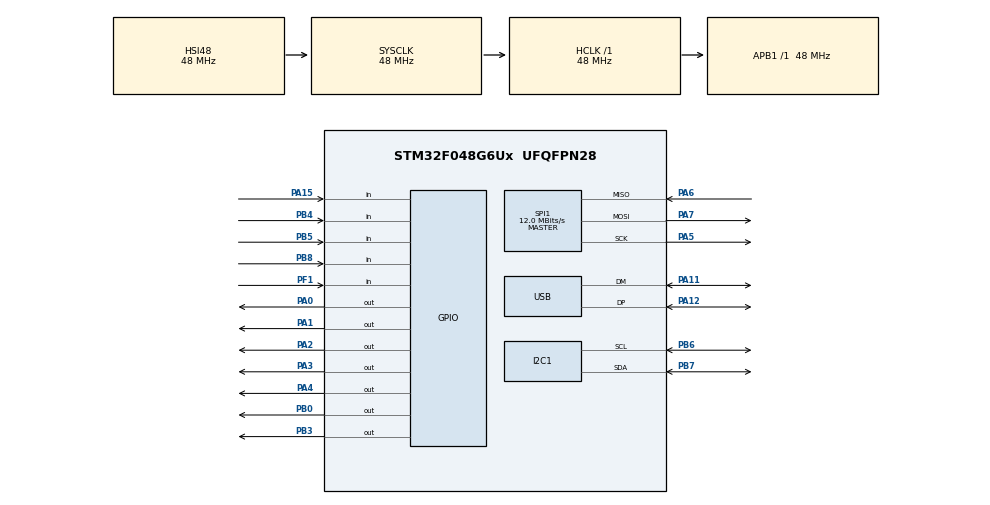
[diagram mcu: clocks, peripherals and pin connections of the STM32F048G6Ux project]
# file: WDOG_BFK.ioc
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Mcu.Family=STM32F0
Mcu.Name=STM32F048G6Ux
Mcu.Package=UFQFPN28
NVIC.SPI1_IRQn=true\:0\:0\:false\:false\:true\:true\:true
NVIC.TIM17_IRQn=true\:0\:0\:false\:false\:true\:false\:true
NVIC.TimeBase=TIM17_IRQn
NVIC.TimeBaseIP=TIM17
NVIC.USB_IRQn=true\:0\:0\:false\:false\:true\:false\:true
PA0.GPIO_ModeDefaultOutputPP=GPIO_MODE_OUTPUT_OD
PA0.Signal=GPIO_Output
PA1.GPIO_ModeDefaultOutputPP=GPIO_MODE_OUTPUT_OD
PA1.Signal=GPIO_Output
PA11.Mode=Device
PA11.Signal=USB_DM
PA12.Mode=Device
PA12.Signal=USB_DP
PA13.Mode=Serial_Wire
PA13.Signal=SYS_SWDIO
PA14.Mode=Serial_Wire
PA14.Signal=SYS_SWCLK
PA15.GPIO_PuPd=GPIO_PULLDOWN
PA15.Signal=GPIO_Input
PA2.GPIO_ModeDefaultOutputPP=GPIO_MODE_OUTPUT_OD
PA2.PinState=GPIO_PIN_SET
PA2.Signal=GPIO_Output
PA3.Signal=GPIO_Output
PA4.Signal=GPIO_Output
PA5.Mode=Full_Duplex_Master
PA5.Signal=SPI1_SCK
PA6.Mode=Full_Duplex_Master
PA6.Signal=SPI1_MISO
PA7.Mode=Full_Duplex_Master
PA7.Signal=SPI1_MOSI
PB0.Signal=GPIO_Output
PB3.Signal=GPIO_Output
PB4.GPIO_PuPd=GPIO_PULLUP
PB4.Signal=GPIO_Input
PB5.GPIO_PuPd=GPIO_PULLUP
PB5.Signal=GPIO_Input
PB6.Mode=I2C
PB6.Signal=I2C1_SCL
PB7.Mode=I2C
PB7.Signal=I2C1_SDA
PB8.Signal=GPIO_Input
PF1-OSC_OUT.GPIO_PuPd=GPIO_PULLUP
PF1-OSC_OUT.Signal=GPIO_Input
ProjectManager.HeapSize=0x200
ProjectManager.StackSize=0x325
ProjectManager.TargetToolchain=STM32CubeIDE
RCC.AHBFreq_Value=48000000
RCC.APB1Freq_Value=48000000
RCC.APB1TimFreq_Value=48000000
RCC.HCLKFreq_Value=48000000
RCC.HSI14CalibrationValue=31
RCC.HSICalibrationValue=31
RCC.PLLSourceVirtual=RCC_PLLSOURCE_HSI48
RCC.SYSCLKFreq_VALUE=48000000
RCC.SYSCLKSource=RCC_SYSCLKSOURCE_HSI48
SPI1.BaudRatePrescaler=SPI_BAUDRATEPRESCALER_4
SPI1.CLKPhase=SPI_PHASE_1EDGE
SPI1.CLKPolarity=SPI_POLARITY_LOW
SPI1.CalculateBaudRate=12.0 MBits/s
SPI1.DataSize=SPI_DATASIZE_8BIT
SPI1.Direction=SPI_DIRECTION_2LINES
SPI1.FirstBit=SPI_FIRSTBIT_MSB
SPI1.Mode=SPI_MODE_MASTER
SPI1.NSSPMode=SPI_NSS_PULSE_DISABLE
SPI1.VirtualType=VM_MASTER
USB.low_power_enable=DISABLE
USB_DEVICE.APP_RX_DATA_SIZE=128
USB_DEVICE.APP_TX_DATA_SIZE=128
USB_DEVICE.CLASS_NAME_FS=CDC
USB_DEVICE.USBD_DEBUG_LEVEL=0
USB_DEVICE.VirtualMode=Cdc
USB_DEVICE.VirtualModeFS=Cdc_FS
VP_ADC_TempSens_Input.Mode=IN-TempSens
VP_IWDG_VS_IWDG.Mode=IWDG_Activate
VP_SYS_VS_PINREMAP.Mode=PINREMAP
VP_SYS_VS_tim17.Mode=TIM17
VP_USB_DEVICE_VS_USB_DEVICE_CDC_FS.Mode=CDC_FS
board=custom

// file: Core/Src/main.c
/* USER CODE BEGIN Header */
/**
  ******************************************************************************
  * @file           : main.c
  * @brief          : Main program body
  ******************************************************************************
  * @attention
  *
  * <h2><center>&copy; Copyright (c) 2021 STMicroelectronics.
  * All rights reserved.</center></h2>
  *
  * This software component is licensed by ST under BSD 3-Clause license,
  * the "License"; You may not use this file except in compliance with the
  * License. You may obtain a copy of the License at:
  *                        opensource.org/licenses/BSD-3-Clause
  *
  ******************************************************************************
  */
/* USER CODE END Header */

/* USER CODE BEGIN Includes */
#include "main.h"
#include "usb_device.h"
#include "i2c.h"
#include "i2cSlave.h"
#include "usbd_cdc_if.h"
#include "stm32f0xx_hal_i2c.h"
#include "memory.h"
#include "POST.h"
#include "power.h"
#include "POST.h"

/* USER CODE END Includes */

/* USER CODE BEGIN PTD */
#ifndef TRUE
	#define TRUE 1
#endif
#ifndef FALSE
	#define FALSE 0
#endif
/* USER CODE END PTD */
// TEST

ADC_HandleTypeDef hadc;

I2C_HandleTypeDef hi2c1;

SPI_HandleTypeDef hspi1;

/* USER CODE BEGIN PV */

extern USBD_HandleTypeDef hUsbDeviceFS;
extern const char* SWT[];
struct SSysCntrl SysCntrl;
struct SConsole console;
struct Si2c hi2c;
I2C_handler si2c1;
/* USER CODE END PV */

void SystemClock_Config(void);
static void MX_GPIO_Init(void);
static void MX_I2C1_Init(void);
static void MX_SPI1_Init(void);
static void MX_ADC_Init(void);
/* USER CODE BEGIN PFP */

void EnableSPI() {
	GPIO_InitTypeDef GPIO_InitStruct = {0};
	ClrI2C_Mask(FLASH_EN_0|FLASH_EN_1);
	MX_SPI1_Init();
  	GPIO_InitStruct.Pin = GPIO_PIN_0|GPIO_PIN_3;
  	GPIO_InitStruct.Mode = GPIO_MODE_OUTPUT_PP;
  	GPIO_InitStruct.Pull = GPIO_NOPULL;
  	GPIO_InitStruct.Speed = GPIO_SPEED_FREQ_LOW;
	HAL_GPIO_Init(GPIOB, &GPIO_InitStruct);
	Set_CS(0);
	Set_CS(1);

}

void DisableSPI() {

	GPIO_InitTypeDef GPIO_InitStruct = {0};

	HAL_SPI_DeInit(&hspi1);
	GPIO_InitStruct.Pin = GPIO_PIN_0|GPIO_PIN_3;
  	GPIO_InitStruct.Mode = GPIO_MODE_INPUT;
  	GPIO_InitStruct.Pull = GPIO_NOPULL;
  	HAL_GPIO_Init(GPIOB, &GPIO_InitStruct);

}

void DFUMode(){
	IWDG_HandleTypeDef hiwdg;
	hiwdg.Instance = IWDG;
	hiwdg.Init.Prescaler = IWDG_PRESCALER_4;
	hiwdg.Init.Window = 20;
	hiwdg.Init.Reload = 20;
	GPIO_InitTypeDef GPIO_InitStruct = {0};
	GPIO_InitStruct.Pin = GPIO_PIN_8;
	GPIO_InitStruct.Mode = GPIO_MODE_OUTPUT_PP;
	GPIO_InitStruct.Pull = GPIO_NOPULL;
	HAL_GPIO_Init(GPIOB, &GPIO_InitStruct);
	HAL_GPIO_WritePin(GPIOB,GPIO_PIN_8,GPIO_PIN_SET);
	__HAL_IWDG_START(&hiwdg);
}
/* USER CODE END PFP */

/* USER CODE BEGIN 0 */

void SetI2C_Mask(uint8_t mask) {
	SysCntrl.i2c_bt[1] |= mask;
	SFT_I2C_Master_Transmit(&si2c1,GPIO_EXPANDER_ADDR, SysCntrl.i2c_bt,2,1);
}
void ClrI2C_Mask(uint8_t mask) {
	SysCntrl.i2c_bt[1] &= ~mask;
	SFT_I2C_Master_Transmit(&si2c1,GPIO_EXPANDER_ADDR, SysCntrl.i2c_bt,2,1);
}

void Set_CS(uint8_t cs) {
	if(cs == 0)
		HAL_GPIO_WritePin(GPIOB,GPIO_PIN_0,GPIO_PIN_SET);
	if(cs == 1)
		HAL_GPIO_WritePin(GPIOB,GPIO_PIN_3,GPIO_PIN_SET);

}
void Clr_CS(uint8_t cs) {
	if(cs == 0)
		HAL_GPIO_WritePin(GPIOB,GPIO_PIN_0,GPIO_PIN_RESET);
	if(cs == 1)
		HAL_GPIO_WritePin(GPIOB,GPIO_PIN_3,GPIO_PIN_RESET);

}

void Test_RxPacket(uint8_t *Buf,uint32_t Len) {
	uint32_t idx;
	idx = 0;
	while(Len!=0) {
		SysCntrl.uart_rx_buf[SysCntrl.rx_head++] = Buf[idx++];
		SysCntrl.rx_head &= RX_BUF_SIZE-1;
		Len--;
	}
}

void UART_putstrln(uint8_t LF,char *str){
	if(hUsbDeviceFS.dev_state == USBD_STATE_CONFIGURED){
		HAL_Delay(1);
		CDC_Transmit_FS((uint8_t*)str,strlen(str));
		while(LF>0){
			HAL_Delay(1);
			CDC_Transmit_FS((uint8_t*)"\r\n",3);
			LF--;
		}
	}
}

void UART_SendByte(uint8_t bt) {
	while(CDC_Transmit_FS(&bt,1) != USBD_OK);
}

int ReadUartNonBlock(uint8_t *buf,int size) {
	int cnt;
	cnt = 0;

	while((SysCntrl.rx_head != SysCntrl.rx_tail) && size) {
		buf[cnt++] = SysCntrl.uart_rx_buf[SysCntrl.rx_tail++];
		SysCntrl.rx_tail &= RX_BUF_SIZE-1;
		size--;
	}
	return cnt;
}

void userInput(uint8_t anykey){
	uint8_t i,bt;
	do{
		console.result = ReadUartNonBlock(&bt, 1);
		if(console.result) {

			if(anykey)
				console.cmd_flag = 1;

			switch(bt){
			case 127:
				if(console.idx>0){
					UART_SendByte(0x8);
					UART_SendByte(0x20); //0x20 - ascii space
					UART_SendByte(0x8);

					console.buf[console.idx] = 0;
					console.idx--;
					bt = 0;
				}
				break;
			case '\n':
				continue;
				break;
			case '\r':
				console.buf[console.idx++] = 0;
				console.cmd_flag = 1;
			case 27:
				ReadUartNonBlock(&bt, 1);
				ReadUartNonBlock(&bt, 1);
				if(bt == 65){ // ARROW UP
					UART_SendByte('\r');
					for(i = 0;i<15;i++)
						UART_SendByte(' ');
					UART_SendByte('\r');
					memcpy(console.buf,console.prevBuf,UART_BUF_SIZE);
					console.idx = console.prevIdx;
					UART_putstrln(0,SWT[2]);
					for(i = 0;i<UART_BUF_SIZE && console.prevBuf[i];i++)
						UART_SendByte(console.buf[i]);
				}
				break;
			default:
				if(bt>31){
					console.buf[console.idx++] = bt;
					UART_SendByte(bt);
				}
			}

			if(console.idx >= UART_BUF_SIZE) console.idx = 0;
		}

	}while(console.result && (!console.cmd_flag));

}
void ClearConsoleBuffer(){
	uint8_t i;
	for(i=0;i<UART_BUF_SIZE;i++)
		console.buf[i] = 0;
	console.cmd_flag = 0;
	console.bootMenuStage = 0;
	console.idx = 0;
	console.BootTimeout = 0;
}

void clearUartConsole(){
	UART_putstrln(1,"\033[2J");
}

void UART_Con_Mash(){
	char buf[25];
	userInput(0);
	if(console.cmd_flag){
		UART_putstrln(1,EMPTY_SYM);
		if(!strcmp(console.buf,"ping")){
			UART_putstrln(1,"pong!");
		}
		else
		if(!strcmp(console.buf,"clear")){
			UART_putstrln(42,0);
		}
		else
		if(!strcmp(console.buf,"restart")){
			SysCntrl.power_stage = 9;
			UART_putstrln(1,"CPU restarted...");
		}
		else
		if(!strcmp(console.buf,"autoboot")){
			SysCntrl.Autoboot_Saved =(SysCntrl.Autoboot_Saved)?0:1;
			sprintf(buf,"Autoboot is switched %s",SWT[SysCntrl.Autoboot]);
			UART_putstrln(1,buf);
			writeConfig();
		}
		else
		if(!strcmp(console.buf,"poweroff")){
			SysCntrl.power_stage = 0;
			SysCntrl.Autoboot = 0;
			UART_putstrln(1,"CPU turn off...");
		}
		else
		if(!strcmp(console.buf,"dump2")){
			EnableSPI();
			FlashDump(1);
			DisableSPI();
		}
		else
		if(!strcmp(console.buf,"dump1")){
			EnableSPI();
			FlashDump(0);
			DisableSPI();
		}
		else
		if(!strcmp(console.buf,"power"))
			checkPowerLevels(1);
		else if(!strcmp(console.buf,"info")) memoryMenu(1);
		else
		if(!strcmp(console.buf,"wdog")){
			sprintf(buf,"WDOG timer: %d",SysCntrl.WatchdogTimer);
			UART_putstrln(1,buf);
		}
		else
		if(!strcmp(console.buf,"pwrstage")){
			sprintf(buf,"Power stage:%d",SysCntrl.power_stage);
			UART_putstrln(1,buf);
		}
		else
			// Нужно ли менять флешки на лету?
		if(!strcmp(console.buf,"toggleMem")){
			SysCntrl.BootFlash = ~SysCntrl.BootFlash;
			SysCntrl.MainFlash = ~SysCntrl.MainFlash;
			writeConfig();
		}
		else
		if(!strcmp(console.buf,"") || !strcmp(console.buf,"\n"))
			;
		else{
			UART_putstrln(1, console.buf);
			UART_putstrln(1,"Unknown command: ");
			UART_putstrln(1,EMPTY_SYM);
		}
		// >>
		UART_putstrln(0,SWT[2]);
		memcpy(console.prevBuf,console.buf,UART_BUF_SIZE);
		console.prevIdx = console.idx;
		ClearConsoleBuffer();
	}

}

uint8_t ByteToHEX(uint8_t bt){

	if(bt<10)
		return bt+'0';
	if(bt<=0xf)
		return bt+0x37;
	return 'X';

}

/* USER CODE END 0 */

int main(void)
{
  /* MCU Configuration--------------------------------------------------------*/

  /* Reset of all peripherals, Initializes the Flash interface and the Systick. */
  HAL_Init();

  /* USER CODE BEGIN Init */
  readConfig();
  if(SysCntrl.Magic!=0b10110){
	SysCntrl.MainFlash = 0;
	SysCntrl.FWStatus = 0;
	SysCntrl.Autoboot_Saved = 1;
	SysCntrl.Magic = 0b10110;
	writeConfig();
  }
  SysCntrl.power_stage = 0;
  // GPIO extender address
  SysCntrl.i2c_bt[0] = 0x1;
  SysCntrl.i2c_bt[1] = 0;
  SysCntrl.rx_head = 0;
  SysCntrl.rx_tail = 0;
  SysCntrl.MS_counter = 0;
  SysCntrl.Autoboot = SysCntrl.Autoboot_Saved;
  console.SecondsToStart = 10;
  SysCntrl.WatchdogConsole = 1;
  /* USER CODE END Init */

  /* Configure the system clock */
  SystemClock_Config();

  /* Initialize all configured peripherals */
  MX_GPIO_Init();
  MX_I2C1_Init();
  MX_SPI1_Init();
  MX_USB_DEVICE_Init();
  MX_ADC_Init();
  /* USER CODE BEGIN 2 */

  Set_CS(0);
  Set_CS(1);
  SFT_I2C_Init(GPIOA,GPIO_PIN_1,GPIOA,GPIO_PIN_0,&si2c1,0);
  SFT_I2C_Master_Transmit(&si2c1,GPIO_EXPANDER_ADDR,SysCntrl.i2c_bt,2,1); // Clear outputs
  SysCntrl.i2c_bt[0] = 0x3;
  SFT_I2C_Master_Transmit(&si2c1,GPIO_EXPANDER_ADDR,SysCntrl.i2c_bt,2,1); // All outputs
  SysCntrl.i2c_bt[0] = 0x1;
  SPI_Reset(0);
  SPI_Reset(1);
  hi2c.state = 0;
  hi2c.bufIdx = 0;
  checkPowerLevels(0);
  USB_EnableGlobalInt(&hUsbDeviceFS);
  ClearConsoleBuffer();
  DisableSPI();
  clearHi2c();
  char buf[25];
  HAL_GPIO_WritePin(GPIOA,GPIO_PIN_2,GPIO_PIN_RESET);
  /* USER CODE END 2 */

  /* Infinite loop */
  while (1)
  {

    /* USER CODE BEGIN 3 */
	  asm("nop");
	  if(SysCntrl.TimerTick) {
		  SysCntrl.TimerTick = 0;
		  // 20 мс разрешение
		  switch(SysCntrl.MS_counter % 20) {
		  case 0:
			 if(SysCntrl.power_stage == 7)
				 switch(hUsbDeviceFS.dev_state){
					 case USBD_STATE_CONFIGURED:
						 UART_Con_Mash();
					break;
					}
			  break;
		  case 4:
			  if(!SysCntrl.XmodemMode)
				  PowerSM();
		  break;
		  case 6:
			  i2cSM();
		  break;
		  case 14:
			SysCntrl.WatchdogTimer++;
		  break;
		  case 16:
			  if(SysCntrl.XmodemMode){
				  Xmodem_SPI();
				  SysCntrl.MS_counter = 16;
			  }
		  break;
		  case 17:
			  checkPowerLevels();
			  break;
		  // Дальше не занимать, защита от дребезга занимает много времени
		  }
	  }

  }
  /* USER CODE END 3 */
}

void SystemClock_Config(void)
{
  RCC_OscInitTypeDef RCC_OscInitStruct = {0};
  RCC_ClkInitTypeDef RCC_ClkInitStruct = {0};
  RCC_PeriphCLKInitTypeDef PeriphClkInit = {0};

  /** Initializes the RCC Oscillators according to the specified parameters
  * in the RCC_OscInitTypeDef structure.
  */
  RCC_OscInitStruct.OscillatorType = RCC_OSCILLATORTYPE_HSI|RCC_OSCILLATORTYPE_HSI14
                              |RCC_OSCILLATORTYPE_HSI48;
  RCC_OscInitStruct.HSIState = RCC_HSI_ON;
  RCC_OscInitStruct.HSI48State = RCC_HSI48_ON;
  RCC_OscInitStruct.HSI14State = RCC_HSI14_ON;
  RCC_OscInitStruct.HSICalibrationValue = 31;
  RCC_OscInitStruct.HSI14CalibrationValue = 31;
  RCC_OscInitStruct.PLL.PLLState = RCC_PLL_NONE;
  if (HAL_RCC_OscConfig(&RCC_OscInitStruct) != HAL_OK)
  {
    Error_Handler();
  }
  /** Initializes the CPU, AHB and APB buses clocks
  */
  RCC_ClkInitStruct.ClockType = RCC_CLOCKTYPE_HCLK|RCC_CLOCKTYPE_SYSCLK
                              |RCC_CLOCKTYPE_PCLK1;
  RCC_ClkInitStruct.SYSCLKSource = RCC_SYSCLKSOURCE_HSI48;
  RCC_ClkInitStruct.AHBCLKDivider = RCC_SYSCLK_DIV1;
  RCC_ClkInitStruct.APB1CLKDivider = RCC_HCLK_DIV1;

  if (HAL_RCC_ClockConfig(&RCC_ClkInitStruct, FLASH_LATENCY_1) != HAL_OK)
  {
    Error_Handler();
  }
  PeriphClkInit.PeriphClockSelection = RCC_PERIPHCLK_USB|RCC_PERIPHCLK_I2C1;
  PeriphClkInit.I2c1ClockSelection = RCC_I2C1CLKSOURCE_HSI;
  PeriphClkInit.UsbClockSelection = RCC_USBCLKSOURCE_HSI48;

  if (HAL_RCCEx_PeriphCLKConfig(&PeriphClkInit) != HAL_OK)
  {
    Error_Handler();
  }
}

static void MX_ADC_Init(void)
{

  ADC_ChannelConfTypeDef sConfig = {0};

  /** Configure the global features of the ADC (Clock, Resolution, Data Alignment and number of conversion)
  */
  hadc.Instance = ADC1;
  hadc.Init.ClockPrescaler = ADC_CLOCK_ASYNC_DIV1;
  hadc.Init.Resolution = ADC_RESOLUTION_12B;
  hadc.Init.DataAlign = ADC_DATAALIGN_RIGHT;
  hadc.Init.ScanConvMode = ADC_SCAN_DIRECTION_FORWARD;
  hadc.Init.EOCSelection = ADC_EOC_SINGLE_CONV;
  hadc.Init.LowPowerAutoWait = DISABLE;
  hadc.Init.LowPowerAutoPowerOff = DISABLE;
  hadc.Init.ContinuousConvMode = DISABLE;
  hadc.Init.DiscontinuousConvMode = DISABLE;
  hadc.Init.ExternalTrigConv = ADC_SOFTWARE_START;
  hadc.Init.ExternalTrigConvEdge = ADC_EXTERNALTRIGCONVEDGE_NONE;
  hadc.Init.DMAContinuousRequests = DISABLE;
  hadc.Init.Overrun = ADC_OVR_DATA_PRESERVED;
  if (HAL_ADC_Init(&hadc) != HAL_OK)
  {
    Error_Handler();
  }
  /** Configure for the selected ADC regular channel to be converted.
  */
  sConfig.Channel = ADC_CHANNEL_TEMPSENSOR;
  sConfig.Rank = ADC_RANK_CHANNEL_NUMBER;
  sConfig.SamplingTime = ADC_SAMPLETIME_1CYCLE_5;
  if (HAL_ADC_ConfigChannel(&hadc, &sConfig) != HAL_OK)
  {
    Error_Handler();
  }

}

static void MX_I2C1_Init(void)
{

  hi2c1.Instance = I2C1;
  hi2c1.Init.Timing = 0x2000090E;
  hi2c1.Init.OwnAddress1 = 52;
  hi2c1.Init.AddressingMode = I2C_ADDRESSINGMODE_7BIT;
  hi2c1.Init.DualAddressMode = I2C_DUALADDRESS_DISABLE;
  hi2c1.Init.OwnAddress2 = 0;
  hi2c1.Init.OwnAddress2Masks = I2C_OA2_NOMASK;
  hi2c1.Init.GeneralCallMode = I2C_GENERALCALL_DISABLE;
  hi2c1.Init.NoStretchMode = I2C_NOSTRETCH_DISABLE;

  if (HAL_I2C_Init(&hi2c1) != HAL_OK)
  {
    Error_Handler();
  }
  /** Configure Analogue filter
  */
  if (HAL_I2CEx_ConfigAnalogFilter(&hi2c1, I2C_ANALOGFILTER_ENABLE) != HAL_OK)
  {
    Error_Handler();
  }
  /** Configure Digital filter
  */
  if (HAL_I2CEx_ConfigDigitalFilter(&hi2c1, 0) != HAL_OK)
  {
    Error_Handler();
  }

}

static void MX_SPI1_Init(void)
{

  /* SPI1 parameter configuration*/
  hspi1.Instance = SPI1;
  hspi1.Init.Mode = SPI_MODE_MASTER;
  hspi1.Init.Direction = SPI_DIRECTION_2LINES;
  hspi1.Init.DataSize = SPI_DATASIZE_8BIT;
  hspi1.Init.CLKPolarity = SPI_POLARITY_LOW;
  hspi1.Init.CLKPhase = SPI_PHASE_1EDGE;
  hspi1.Init.NSS = SPI_NSS_SOFT;
  hspi1.Init.BaudRatePrescaler = SPI_BAUDRATEPRESCALER_4;
  hspi1.Init.FirstBit = SPI_FIRSTBIT_MSB;
  hspi1.Init.TIMode = SPI_TIMODE_DISABLE;
  hspi1.Init.CRCCalculation = SPI_CRCCALCULATION_DISABLE;
  hspi1.Init.CRCPolynomial = 7;
  hspi1.Init.CRCLength = SPI_CRC_LENGTH_DATASIZE;
  hspi1.Init.NSSPMode = SPI_NSS_PULSE_DISABLE;
  if (HAL_SPI_Init(&hspi1) != HAL_OK)
  {
    Error_Handler();
  }

}

static void MX_GPIO_Init(void)
{
  GPIO_InitTypeDef GPIO_InitStruct = {0};

  /* GPIO Ports Clock Enable */
  __HAL_RCC_GPIOB_CLK_ENABLE();
  __HAL_RCC_GPIOF_CLK_ENABLE();
  __HAL_RCC_GPIOA_CLK_ENABLE();

  /*Configure GPIO pin Output Level */
  HAL_GPIO_WritePin(GPIOA, GPIO_PIN_0|GPIO_PIN_1|GPIO_PIN_3|GPIO_PIN_4, GPIO_PIN_RESET);

  /*Configure GPIO pin Output Level */
  HAL_GPIO_WritePin(GPIOA, GPIO_PIN_2, GPIO_PIN_SET);

  /*Configure GPIO pin Output Level */
  HAL_GPIO_WritePin(GPIOB, GPIO_PIN_0|GPIO_PIN_3, GPIO_PIN_RESET);

  /*Configure GPIO pin : PB8 */
  GPIO_InitStruct.Pin = GPIO_PIN_8;
  GPIO_InitStruct.Mode = GPIO_MODE_INPUT;
  GPIO_InitStruct.Pull = GPIO_NOPULL;
  HAL_GPIO_Init(GPIOB, &GPIO_InitStruct);

  /*Configure GPIO pin : PF1 */
  GPIO_InitStruct.Pin = GPIO_PIN_1;
  GPIO_InitStruct.Mode = GPIO_MODE_INPUT;
  GPIO_InitStruct.Pull = GPIO_PULLUP;
  HAL_GPIO_Init(GPIOF, &GPIO_InitStruct);

  /*Configure GPIO pins : PA0 PA1 PA2 */
  GPIO_InitStruct.Pin = GPIO_PIN_0|GPIO_PIN_1|GPIO_PIN_2;
  GPIO_InitStruct.Mode = GPIO_MODE_OUTPUT_OD;
  GPIO_InitStruct.Pull = GPIO_NOPULL;
  GPIO_InitStruct.Speed = GPIO_SPEED_FREQ_LOW;
  HAL_GPIO_Init(GPIOA, &GPIO_InitStruct);

  /*Configure GPIO pins : PA3 PA4 */
  GPIO_InitStruct.Pin = GPIO_PIN_3|GPIO_PIN_4;
  GPIO_InitStruct.Mode = GPIO_MODE_OUTPUT_PP;
  GPIO_InitStruct.Pull = GPIO_NOPULL;
  GPIO_InitStruct.Speed = GPIO_SPEED_FREQ_LOW;
  HAL_GPIO_Init(GPIOA, &GPIO_InitStruct);

  /*Configure GPIO pins : PB0 PB3 */
  GPIO_InitStruct.Pin = GPIO_PIN_0|GPIO_PIN_3;
  GPIO_InitStruct.Mode = GPIO_MODE_OUTPUT_PP;
  GPIO_InitStruct.Pull = GPIO_NOPULL;
  GPIO_InitStruct.Speed = GPIO_SPEED_FREQ_LOW;
  HAL_GPIO_Init(GPIOB, &GPIO_InitStruct);

  /*Configure GPIO pin : PA15 */
  GPIO_InitStruct.Pin = GPIO_PIN_15;
  GPIO_InitStruct.Mode = GPIO_MODE_INPUT;
  GPIO_InitStruct.Pull = GPIO_PULLDOWN;
  HAL_GPIO_Init(GPIOA, &GPIO_InitStruct);

  /*Configure GPIO pins : PB4 PB5 */
  GPIO_InitStruct.Pin = GPIO_PIN_4|GPIO_PIN_5;
  GPIO_InitStruct.Mode = GPIO_MODE_INPUT;
  GPIO_InitStruct.Pull = GPIO_PULLUP;
  HAL_GPIO_Init(GPIOB, &GPIO_InitStruct);

}

void HAL_TIM_PeriodElapsedCallback(TIM_HandleTypeDef *htim)
{
  if (htim->Instance == TIM17) {
    HAL_IncTick();
  }
  /* USER CODE BEGIN Callback 1 */

  SysCntrl.TimerTick = 1;
  if(++SysCntrl.MS_counter>999)SysCntrl.MS_counter = 0;

  /* USER CODE END Callback 1 */
}

void Error_Handler(void)
{
  /* USER CODE BEGIN Error_Handler_Debug */
	UART_putstrln(1,"GOTCHA ERROR");
  /* User can add his own implementation to report the HAL error return state */
  __disable_irq();
  while (1)
  {
  }
  /* USER CODE END Error_Handler_Debug */
}

/************************ (C) COPYRIGHT STMicroelectronics *****END OF FILE****/
